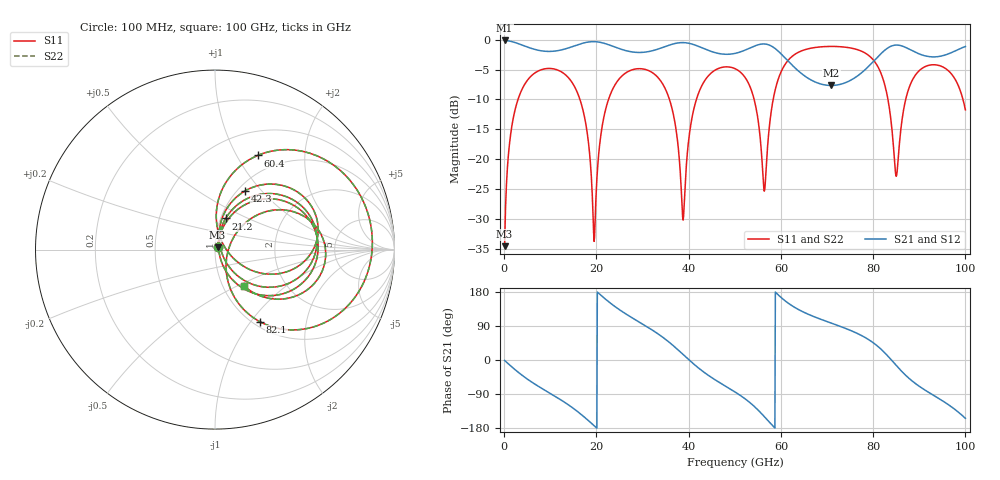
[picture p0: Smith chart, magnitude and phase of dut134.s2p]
! Touchstone file exported from HFSS 2026.1.0
!  File:  C:/ffzhzh/LocalFiles/Ansys_Project_Files/temp_train_TSV_RDL_134_1783640523_29156.aedt
!  Generated:  07:53:26 AM Jul 10, 2026
!  Design:  TSV_RDL
!  Project:  temp_train_TSV_RDL_134_1783640523_29156
! Variables:
!  h_bsmrdl = 4.69um
!  h_ox = 20um
!  h_rdl = 5um
!  h_sub = 76.38um
!  h_tmrdl = 3um
!  h_tsv = 76.38um
!  h_via = 3um
!  l_bsmrdl = 315.5um
!  l_sub = 2961.92um
!  l_tmrdl = 368.8um
!  m_sub = 200um
!  pitch = 57.57um
!  r_tsv = 6.43um
!  s_tmrdl = 10um
!  w_bsmrdl = 27.75um
!  w_sub = 500um
!  w_tmrdl = 18.99um
!  x_tsv_center1 = 378.295um
!  x_tsv_center2 = 721.545um
!  x_tsv_center3 = 1109.335um
!  x_tsv_center4 = 1452.585um
!  x_tsv_center5 = 1840.375um
!  x_tsv_center6 = 2183.625um
# GHz S MA R 50.000000
! Terminal data exported
! Port[1] = TM_RDL1_1_T1
! Port[2] = TM_RDL5_1_T1
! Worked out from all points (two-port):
!   1000 points, 100 MHz to 100 GHz, reference 50 ohm
!   highest |S21| = -0.12 dB at 100 MHz (marker M1); lowest = -7.7 dB at 70.9 GHz (marker M2)
!   |S21| within 3 dB of the highest: start of sweep to 61.01 GHz; 80.69 GHz to end of sweep
!   lowest |S11| = -34.5 dB at 100 MHz (marker M3), VSWR 1.04, Z = 51.4 + j1.25 ohm
!   |S11| at or under -10 dB: 16.43 GHz to 22.62 GHz (6.192 GHz wide, 31.7 % of centre); 35.84 GHz to 41.68 GHz (5.838 GHz wide, 15.1 % of centre); 54.2 GHz to 58.33 GHz (4.122 GHz wide, 7.33 % of centre) (the widest 3 of 6)
!   |S22| runs from -34.5 to -1.1 dB; largest |S21 - S12| = 4.4e-14
!   S11 on the Smith chart (normalised r, x): 100 MHz: 1.03, +0.02; 21.2 GHz: 1.06, +0.38; 42.3 GHz: 1.08, +0.82; 60.4 GHz: 0.78, +1.22; 82.1 GHz: 1.07, -1.12; 100 GHz: 1.25, -0.54
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0.1  0.01876 40.3  0.9859 -1.2  0.9859 -1.2  0.01876 40.3
! Gamma 0 0 0 0
! Port Impedance 50 0 50 0
1.6  0.1823 66.9  0.9656 -17.5  0.9656 -17.5  0.1823 66.9
4.7  0.4387 39.8  0.8783 -47.6  0.8783 -47.6  0.4387 39.8
10.6  0.5714 -3.7  0.8006 -92.6  0.8006 -92.6  0.5714 -3.7
16.8  0.2842 -52.5  0.9292 -144.7  0.9292 -144.7  0.2841 -52.4
19.5  0.02058 -0.2  0.9634 -173.3  0.9634 -173.3  0.02109 0.2
21.2  0.1836 71.2  0.9439 168.5  0.9439 168.5  0.1838 71.1
33.4  0.4805 -20.2  0.836 68.7  0.836 68.7  0.4805 -20.2
36.7  0.2358 -46.6  0.9231 37.5  0.9231 37.5  0.2359 -46.5
38.8  0.03098 15.2  0.9461 14.5  0.9461 14.5  0.03171 15.2
42.3  0.3699 62.7  0.8745 -22.7  0.8745 -22.7  0.37 62.5
50.1  0.5717 5.9  0.7691 -84.7  0.7691 -84.7  0.5717 5.8
54.1  0.3276 -24.7  0.8799 -121.1  0.8799 -121.1  0.3275 -24.7
56.4  0.0541 26.3  0.9217 -149.3  0.9217 -149.3  0.05383 26.4
60.4  0.5757 65.6  0.7378 161.2  0.7378 161.2  0.5758 65.6
66.7  0.8521 25.0  0.4569 116.7  0.4569 116.7  0.8522 25.0
70.9  0.879 7.0  0.4144 97.4  0.4144 97.4  0.8791 7.0
82.1  0.4749 -58.0  0.7906 24.1  0.7906 24.1  0.4751 -57.9
83.4  0.2867 -67.8  0.8637 7.6  0.8637 7.6  0.287 -67.6
85.1  0.07363 -2.4  0.9027 -15.6  0.9027 -15.6  0.0747 -2.7
89.1  0.5023 23.9  0.7876 -61.5  0.7876 -61.5  0.5024 23.8
100  0.2589 -51.4  0.8772 -153.9  0.8772 -153.9  0.2589 -51.5
